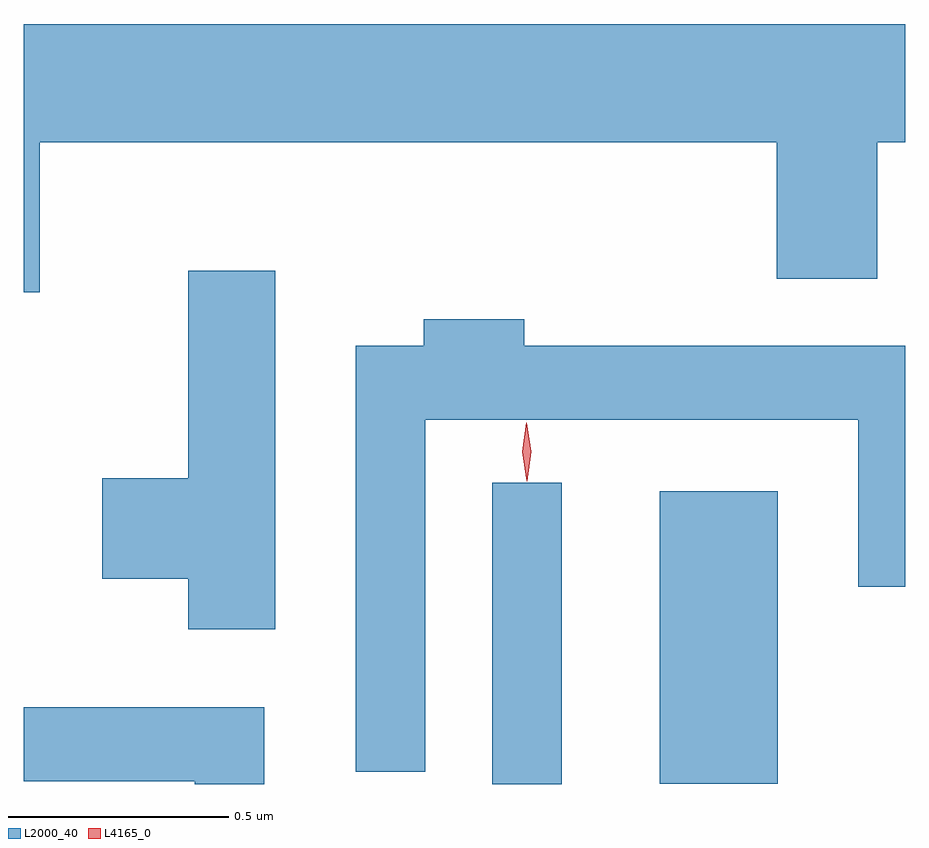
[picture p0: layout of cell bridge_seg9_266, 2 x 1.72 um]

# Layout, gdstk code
import gdstk
lib = gdstk.Library(unit=1e-6, precision=1e-09)
def R(c, l, rs):  # rectangles x0, y0, x1, y1
    for r in rs: c.add(gdstk.rectangle(r[:2], r[2:], *l))
def P(c, l, *ps):  # polygons
    for p in ps: c.add(gdstk.Polygon(p, *l))
L2000_40 = (2000, 40)
L4165_0 = (4165, 0)

bridge_seg9_266 = lib.new_cell('bridge_seg9_266')
R(bridge_seg9_266, L2000_40, [(1481.016,1994.8,1481.174,1995.483), (1481.396,1994.801,1481.664,1995.464)])
P(bridge_seg9_266, L2000_40, [(1479.989,1996.256),(1481.661,1996.256),(1481.661,1995.946),(1481.889,1995.946),(1481.889,1996.256),(1481.953,1996.256),(1481.953,1996.524),(1479.953,1996.524),(1479.953,1995.916),(1479.989,1995.916)],
  [(1480.524,1995.964),(1480.326,1995.964),(1480.326,1995.494),(1480.131,1995.494),(1480.131,1995.266),(1480.326,1995.266),(1480.326,1995.151),(1480.524,1995.151)],
  [(1480.864,1995.626),(1481.846,1995.626),(1481.846,1995.248),(1481.953,1995.248),(1481.953,1995.794),(1481.089,1995.794),(1481.089,1995.854),(1480.861,1995.854),(1480.861,1995.794),(1480.706,1995.794),(1480.706,1994.828),(1480.864,1994.828)],
  [(1480.499,1994.974),(1479.953,1994.974),(1479.953,1994.806),(1480.341,1994.806),(1480.341,1994.8),(1480.499,1994.8)])
P(bridge_seg9_266, L4165_0, [(1481.094,1995.487),(1481.094,1995.487),(1481.084,1995.554),(1481.093,1995.62),(1481.094,1995.62),(1481.094,1995.62),(1481.104,1995.554),(1481.095,1995.487)])

lib.write_gds('bridge_seg9_266.gds')
